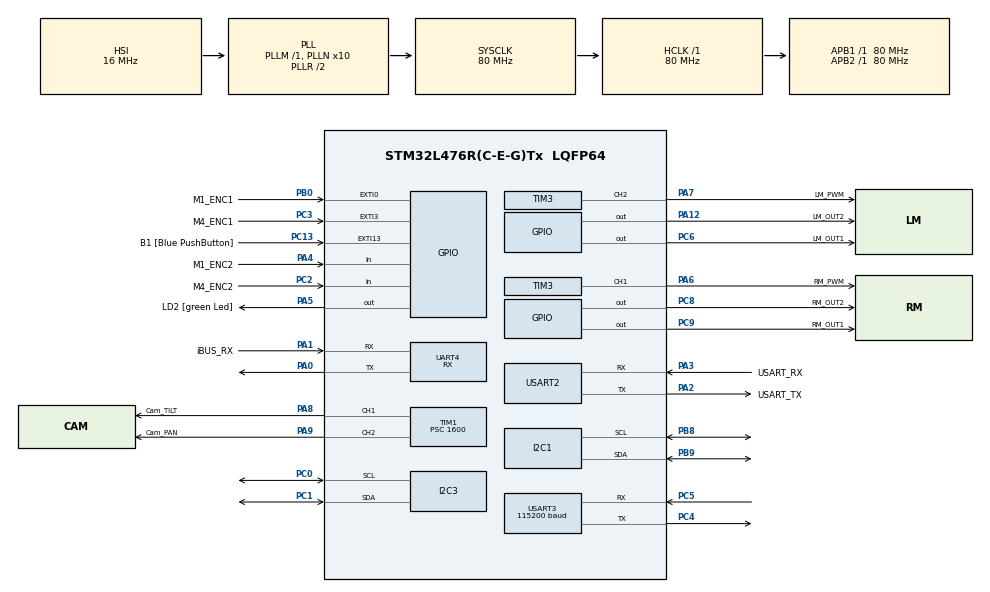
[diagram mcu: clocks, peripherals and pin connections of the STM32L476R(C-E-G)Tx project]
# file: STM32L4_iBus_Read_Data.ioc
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I2C1.Timing=0x10909CEC
I2C3.Timing=0x10909CEC
Mcu.Family=STM32L4
Mcu.Name=STM32L476R(C-E-G)Tx
Mcu.Package=LQFP64
NVIC.EXTI0_IRQn=true\:0\:0\:false\:false\:true\:true\:true
NVIC.EXTI3_IRQn=true\:0\:0\:false\:false\:true\:true\:true
NVIC.PriorityGroup=NVIC_PRIORITYGROUP_4
NVIC.UART4_IRQn=true\:0\:0\:false\:false\:true\:true\:true
PA0.Mode=Asynchronous
PA0.Signal=UART4_TX
PA1.GPIO_Label=iBUS_RX
PA1.Mode=Asynchronous
PA1.Signal=UART4_RX
PA12.GPIO_Label=LM_OUT2
PA12.Signal=GPIO_Output
PA13\ (JTMS-SWDIO).GPIO_Label=TMS
PA13\ (JTMS-SWDIO).Mode=Serial_Wire
PA13\ (JTMS-SWDIO).Signal=SYS_JTMS-SWDIO
PA14\ (JTCK-SWCLK).GPIO_Label=TCK
PA14\ (JTCK-SWCLK).Mode=Serial_Wire
PA14\ (JTCK-SWCLK).Signal=SYS_JTCK-SWCLK
PA2.GPIO_Label=USART_TX
PA2.GPIO_Mode=GPIO_MODE_AF_PP
PA2.GPIO_PuPd=GPIO_NOPULL
PA2.GPIO_Speed=GPIO_SPEED_FREQ_VERY_HIGH
PA2.Mode=Asynchronous
PA2.Signal=USART2_TX
PA3.GPIO_Label=USART_RX
PA3.GPIO_Mode=GPIO_MODE_AF_PP
PA3.GPIO_PuPd=GPIO_NOPULL
PA3.GPIO_Speed=GPIO_SPEED_FREQ_VERY_HIGH
PA3.Mode=Asynchronous
PA3.Signal=USART2_RX
PA4.GPIO_Label=M1_ENC2
PA4.Signal=GPIO_Input
PA5.GPIO_Label=LD2 [green Led]
PA5.GPIO_ModeDefaultOutputPP=GPIO_MODE_OUTPUT_PP
PA5.GPIO_PuPd=GPIO_NOPULL
PA5.GPIO_Speed=GPIO_SPEED_FREQ_LOW
PA5.Signal=GPIO_Output
PA6.GPIO_Label=RM_PWM
PA6.Signal=S_TIM3_CH1
PA7.GPIO_Label=LM_PWM
PA7.Signal=S_TIM3_CH2
PA8.GPIO_Label=Cam_TILT
PA8.Signal=S_TIM1_CH1
PA9.GPIO_Label=Cam_PAN
PA9.Signal=S_TIM1_CH2
PB0.GPIO_Label=M1_ENC1
PB0.GPIO_ModeDefaultEXTI=GPIO_MODE_IT_RISING
PB0.Signal=GPXTI0
PB3\ (JTDO-TRACESWO).GPIO_Label=SWO
PB3\ (JTDO-TRACESWO).Signal=SYS_JTDO-SWO
PB8.Mode=I2C
PB8.Signal=I2C1_SCL
PB9.Mode=I2C
PB9.Signal=I2C1_SDA
PC0.Mode=I2C
PC0.Signal=I2C3_SCL
PC1.Mode=I2C
PC1.Signal=I2C3_SDA
PC13.GPIO_Label=B1 [Blue PushButton]
PC13.GPIO_ModeDefaultEXTI=GPIO_MODE_IT_FALLING
PC13.GPIO_PuPd=GPIO_NOPULL
PC13.Signal=GPXTI13
PC14-OSC32_IN\ (PC14).Mode=LSE-External-Oscillator
PC14-OSC32_IN\ (PC14).Signal=RCC_OSC32_IN
PC15-OSC32_OUT\ (PC15).Mode=LSE-External-Oscillator
PC15-OSC32_OUT\ (PC15).Signal=RCC_OSC32_OUT
PC2.GPIO_Label=M4_ENC2
PC2.Signal=GPIO_Input
PC3.GPIO_Label=M4_ENC1
PC3.GPIO_ModeDefaultEXTI=GPIO_MODE_IT_RISING
PC3.Signal=GPXTI3
PC4.Mode=Asynchronous
PC4.Signal=USART3_TX
PC5.Mode=Asynchronous
PC5.Signal=USART3_RX
PC6.GPIO_Label=LM_OUT1
PC6.Signal=GPIO_Output
PC8.GPIO_Label=RM_OUT2
PC8.Signal=GPIO_Output
PC9.GPIO_Label=RM_OUT1
PC9.Signal=GPIO_Output
PH0-OSC_IN\ (PH0).Signal=RCC_OSC_IN
PH1-OSC_OUT\ (PH1).Signal=RCC_OSC_OUT
ProjectManager.HeapSize=0x200
ProjectManager.StackSize=0x400
ProjectManager.TargetToolchain=STM32CubeIDE
RCC.ADCFreq_Value=64000000
RCC.AHBFreq_Value=80000000
RCC.APB1Freq_Value=80000000
RCC.APB1TimFreq_Value=80000000
RCC.APB2Freq_Value=80000000
RCC.APB2TimFreq_Value=80000000
RCC.CortexFreq_Value=80000000
RCC.HCLKFreq_Value=80000000
RCC.HSE_VALUE=8000000
RCC.HSI_VALUE=16000000
RCC.MSI_VALUE=4000000
RCC.PLLN=10
RCC.PLLSourceVirtual=RCC_PLLSOURCE_HSI
RCC.PREFETCH_ENABLE=1
RCC.SYSCLKFreq_VALUE=80000000
RCC.SYSCLKSource=RCC_SYSCLKSOURCE_PLLCLK
RCC.USBFreq_Value=64000000
RCC.VCOOutputFreq_Value=160000000
SH.S_TIM1_CH1.0=TIM1_CH1,PWM Generation1 CH1
SH.S_TIM1_CH2.0=TIM1_CH2,PWM Generation2 CH2
SH.S_TIM3_CH1.0=TIM3_CH1,PWM Generation1 CH1
SH.S_TIM3_CH2.0=TIM3_CH2,PWM Generation2 CH2
TIM1.Channel-PWM\ Generation1\ CH1=TIM_CHANNEL_1
TIM1.Channel-PWM\ Generation2\ CH2=TIM_CHANNEL_2
TIM1.Period=1000
TIM1.Prescaler=1600
TIM3.Channel-PWM\ Generation1\ CH1=TIM_CHANNEL_1
TIM3.Channel-PWM\ Generation2\ CH2=TIM_CHANNEL_2
TIM3.Period=4999
TIM3.Prescaler=1599
UART4.Mode=MODE_RX
UART4.OverrunDisableParam=UART_ADVFEATURE_OVERRUN_DISABLE
USART2.VirtualMode-Asynchronous=VM_ASYNC
USART3.BaudRate=115200
USART3.VirtualMode-Asynchronous=VM_ASYNC
board=NUCLEO-L476RG

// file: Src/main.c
/* USER CODE BEGIN Header */
/**
  ******************************************************************************
  * @file           : main.c
  * @brief          : Main program body
  ******************************************************************************
  * @attention
  *
  * <h2><center>&copy; Copyright (c) 2020 STMicroelectronics.
  * All rights reserved.</center></h2>
  *
  * This software component is licensed by ST under BSD 3-Clause license,
  * the "License"; You may not use this file except in compliance with the
  * License. You may obtain a copy of the License at:
  *                        opensource.org/licenses/BSD-3-Clause
  *
  ******************************************************************************
  */
/* USER CODE END Header */

#include "main.h"

/* USER CODE BEGIN Includes */
#include <stdlib.h>
#include <stdio.h>
#include <string.h>

#include "MPU6050.h"
#include "fonts.h"
#include "oled.h"
#include "gfx.h"

#include "iBus.h"
//#include "P2927_MC.h"
#include "servos.h"
#include "telemetry.h"
#include "rc_controller.h"
/* USER CODE END Includes */

/* USER CODE BEGIN PD */
//#define IBUS_DEBUG
// Gear ration 1:130 ;  pulses per rotation: 11
#define ENCODER_PULSES_PER_ROTATION		130*11
#define MM_PER_ROTATION					119.38
/* USER CODE END PD */

I2C_HandleTypeDef hi2c1;
I2C_HandleTypeDef hi2c3;

TIM_HandleTypeDef htim1;
TIM_HandleTypeDef htim3;

UART_HandleTypeDef huart4;
UART_HandleTypeDef huart2;
UART_HandleTypeDef huart3;

/* USER CODE BEGIN PV */
uint32_t m4_enc1_cnt, m1_enc1_cnt;
uint32_t m1_enc1_cnt_last, m4_enc1_cnt_last;
int8_t m1_dir, m4_dir;

uint8_t f_send_telemetry;

/* USER CODE END PV */

void SystemClock_Config(void);
static void MX_GPIO_Init(void);
static void MX_USART2_UART_Init(void);
static void MX_UART4_Init(void);
static void MX_I2C1_Init(void);
static void MX_TIM1_Init(void);
static void MX_I2C3_Init(void);
static void MX_USART3_UART_Init(void);
static void MX_TIM3_Init(void);
/* USER CODE BEGIN PFP */
void debugPrint(UART_HandleTypeDef *huart, char _out[]);
/* USER CODE END PFP */

int main(void)
{

  /* MCU Configuration--------------------------------------------------------*/

  /* Reset of all peripherals, Initializes the Flash interface and the Systick. */
  HAL_Init();

  /* Configure the system clock */
  SystemClock_Config();

  /* Initialize all configured peripherals */
  MX_GPIO_Init();
  MX_USART2_UART_Init();
  MX_UART4_Init();
  MX_I2C1_Init();
  MX_TIM1_Init();
  MX_I2C3_Init();
  MX_USART3_UART_Init();
  MX_TIM3_Init();
  /* USER CODE BEGIN 2 */

  SERVOS_Init(&htim1);
  MPU6050_Init(&hi2c3);
  oled_init(&hi2c3);
  telemetry_init(&huart3, TELEMETRY_SEND_SPEED | TELEMETRY_SEND_ACC | TELEMETRY_SEND_GYRO);

  rc_controller_init(&htim3);

//	if(HAL_OK != HAL_I2C_IsDeviceReady(&hi2c1, (0x60 << 1), 3, 100)){
//		HAL_GPIO_WritePin(GPIOA, GPIO_PIN_5, GPIO_PIN_SET);
//		debugPrint(&huart2, "I2C Device not ready. Aborting\r\n");
//		return 1;
//	}
//
//	if(P2927_MC_OK != P2927_MC_Init(&hi2c1)){
//		HAL_GPIO_WritePin(GPIOA, GPIO_PIN_5, GPIO_PIN_SET);
//		debugPrint(&huart2, "Motor controller initialization failed. Aborting\r\n");
//		return 1;
//	}

//	P2927_MC_setMotor(P2927_MC_MOTOR4, P2927_MC_FORWARD, 3000);

  iBusReadInit(&huart4); // starts huart4 reading
  /* USER CODE END 2 */

  /* Infinite loop */
  /* USER CODE BEGIN WHILE */
//  HAL_TIM_Base_Start(&htim3);
//  HAL_TIM_Base_Start_IT(&htim3);
  char line[80];
  while (1)
  {
	  if(iBus_read_finished_f){
		  iBus_read_finished_f = 0;
		  iBusComputeValues();

		  if(iBus_data[9] == 2000){
			  m4_enc1_cnt = 0;
			  m1_enc1_cnt = 0;
		  }
		  if(iBus_data[4] > 1500)
			  HAL_GPIO_WritePin(GPIOA, GPIO_PIN_5, GPIO_PIN_SET);
		  else
			  HAL_GPIO_WritePin(GPIOA, GPIO_PIN_5, GPIO_PIN_RESET);

		  rc_controller_setMotors_RC_values(iBus_data[0], iBus_data[1]);
//		  P2927_MC_setMotors_RC_values(iBus_data[0], iBus_data[1]);

		  SERVOS_update_pantilt(iBus_data[3], iBus_data[2]);

#ifdef IBUS_DEBUG
		  char line[80];
		  snprintf(line, 80, "0x%02X 0x%02X 0x%02X 0x%02X 0x%02X "
				  "0x%02X 0x%02X 0x%02X 0x%02X 0x%02X\r\n", iBus_data[0], iBus_data[1], iBus_data[2], iBus_data[3], iBus_data[4],
				  iBus_data[5], iBus_data[6], iBus_data[0], iBus_data[8], iBus_data[9]);
		  snprintf(line, 80, "%4d %4d %4d %4d %4d %4d %4d %4d %4d %4d \r\n", iBus_data[0], iBus_data[1], iBus_data[2], iBus_data[3], iBus_data[4],
				  iBus_data[5], iBus_data[6], iBus_data[0], iBus_data[8], iBus_data[9]);

//		  snprintf(line, 80, "M1: %s(%4ld) M4: %s(%4ld)  \r", (m1_dir == 0) ? "STP" : ((m1_dir == 1) ? "FWD" : "BWD"), m1_enc1_cnt, (m4_dir == 0) ? "STP" : ((m4_dir == 1) ? "FWD" : "BWD"), m4_enc1_cnt);
		  debugPrint(&huart2, line);
#endif

		  // Start new read
		  iBusReadInit(&huart4);
	  }

	  if(1){
		  MPU5060_Read_Accel();
		  MPU6050_Read_Gyro();
		  memset(line, 0, 80);
		  snprintf(line, 80, "ACC: %.2f  %.2f  %.2f     ",Ax, Ay, Az);
		  graphics_text(0,12,0, line);
		  memset(line, 0, 80);
		  snprintf(line, 80, "GYR: %.2f  %.2f  %.2f     ",Gx, Gy, Gz);
		  graphics_text(0,18,0, line);
		  oled_update();
	  }
	  if(f_send_telemetry){
		  f_send_telemetry = 0;
		  telemetry_send_data();
	  }
    /* USER CODE END WHILE */

  }
}

void SystemClock_Config(void)
{
  RCC_OscInitTypeDef RCC_OscInitStruct = {0};
  RCC_ClkInitTypeDef RCC_ClkInitStruct = {0};
  RCC_PeriphCLKInitTypeDef PeriphClkInit = {0};

  /** Initializes the CPU, AHB and APB busses clocks
  */
  RCC_OscInitStruct.OscillatorType = RCC_OSCILLATORTYPE_HSI;
  RCC_OscInitStruct.HSIState = RCC_HSI_ON;
  RCC_OscInitStruct.HSICalibrationValue = RCC_HSICALIBRATION_DEFAULT;
  RCC_OscInitStruct.PLL.PLLState = RCC_PLL_ON;
  RCC_OscInitStruct.PLL.PLLSource = RCC_PLLSOURCE_HSI;
  RCC_OscInitStruct.PLL.PLLM = 1;
  RCC_OscInitStruct.PLL.PLLN = 10;
  RCC_OscInitStruct.PLL.PLLP = RCC_PLLP_DIV7;
  RCC_OscInitStruct.PLL.PLLQ = RCC_PLLQ_DIV2;
  RCC_OscInitStruct.PLL.PLLR = RCC_PLLR_DIV2;
  if (HAL_RCC_OscConfig(&RCC_OscInitStruct) != HAL_OK)
  {
    Error_Handler();
  }
  /** Initializes the CPU, AHB and APB busses clocks
  */
  RCC_ClkInitStruct.ClockType = RCC_CLOCKTYPE_HCLK|RCC_CLOCKTYPE_SYSCLK
                              |RCC_CLOCKTYPE_PCLK1|RCC_CLOCKTYPE_PCLK2;
  RCC_ClkInitStruct.SYSCLKSource = RCC_SYSCLKSOURCE_PLLCLK;
  RCC_ClkInitStruct.AHBCLKDivider = RCC_SYSCLK_DIV1;
  RCC_ClkInitStruct.APB1CLKDivider = RCC_HCLK_DIV1;
  RCC_ClkInitStruct.APB2CLKDivider = RCC_HCLK_DIV1;

  if (HAL_RCC_ClockConfig(&RCC_ClkInitStruct, FLASH_LATENCY_4) != HAL_OK)
  {
    Error_Handler();
  }
  PeriphClkInit.PeriphClockSelection = RCC_PERIPHCLK_USART2|RCC_PERIPHCLK_USART3
                              |RCC_PERIPHCLK_UART4|RCC_PERIPHCLK_I2C1
                              |RCC_PERIPHCLK_I2C3;
  PeriphClkInit.Usart2ClockSelection = RCC_USART2CLKSOURCE_PCLK1;
  PeriphClkInit.Usart3ClockSelection = RCC_USART3CLKSOURCE_PCLK1;
  PeriphClkInit.Uart4ClockSelection = RCC_UART4CLKSOURCE_PCLK1;
  PeriphClkInit.I2c1ClockSelection = RCC_I2C1CLKSOURCE_PCLK1;
  PeriphClkInit.I2c3ClockSelection = RCC_I2C3CLKSOURCE_PCLK1;
  if (HAL_RCCEx_PeriphCLKConfig(&PeriphClkInit) != HAL_OK)
  {
    Error_Handler();
  }
  /** Configure the main internal regulator output voltage
  */
  if (HAL_PWREx_ControlVoltageScaling(PWR_REGULATOR_VOLTAGE_SCALE1) != HAL_OK)
  {
    Error_Handler();
  }
}

static void MX_I2C1_Init(void)
{

  hi2c1.Instance = I2C1;
  hi2c1.Init.Timing = 0x10909CEC;
  hi2c1.Init.OwnAddress1 = 0;
  hi2c1.Init.AddressingMode = I2C_ADDRESSINGMODE_7BIT;
  hi2c1.Init.DualAddressMode = I2C_DUALADDRESS_DISABLE;
  hi2c1.Init.OwnAddress2 = 0;
  hi2c1.Init.OwnAddress2Masks = I2C_OA2_NOMASK;
  hi2c1.Init.GeneralCallMode = I2C_GENERALCALL_DISABLE;
  hi2c1.Init.NoStretchMode = I2C_NOSTRETCH_DISABLE;
  if (HAL_I2C_Init(&hi2c1) != HAL_OK)
  {
    Error_Handler();
  }
  /** Configure Analogue filter
  */
  if (HAL_I2CEx_ConfigAnalogFilter(&hi2c1, I2C_ANALOGFILTER_ENABLE) != HAL_OK)
  {
    Error_Handler();
  }
  /** Configure Digital filter
  */
  if (HAL_I2CEx_ConfigDigitalFilter(&hi2c1, 0) != HAL_OK)
  {
    Error_Handler();
  }

}

static void MX_I2C3_Init(void)
{

  hi2c3.Instance = I2C3;
  hi2c3.Init.Timing = 0x10909CEC;
  hi2c3.Init.OwnAddress1 = 0;
  hi2c3.Init.AddressingMode = I2C_ADDRESSINGMODE_7BIT;
  hi2c3.Init.DualAddressMode = I2C_DUALADDRESS_DISABLE;
  hi2c3.Init.OwnAddress2 = 0;
  hi2c3.Init.OwnAddress2Masks = I2C_OA2_NOMASK;
  hi2c3.Init.GeneralCallMode = I2C_GENERALCALL_DISABLE;
  hi2c3.Init.NoStretchMode = I2C_NOSTRETCH_DISABLE;
  if (HAL_I2C_Init(&hi2c3) != HAL_OK)
  {
    Error_Handler();
  }
  /** Configure Analogue filter
  */
  if (HAL_I2CEx_ConfigAnalogFilter(&hi2c3, I2C_ANALOGFILTER_ENABLE) != HAL_OK)
  {
    Error_Handler();
  }
  /** Configure Digital filter
  */
  if (HAL_I2CEx_ConfigDigitalFilter(&hi2c3, 0) != HAL_OK)
  {
    Error_Handler();
  }

}

static void MX_TIM1_Init(void)
{

  TIM_MasterConfigTypeDef sMasterConfig = {0};
  TIM_OC_InitTypeDef sConfigOC = {0};
  TIM_BreakDeadTimeConfigTypeDef sBreakDeadTimeConfig = {0};

  htim1.Instance = TIM1;
  htim1.Init.Prescaler = 1600;
  htim1.Init.CounterMode = TIM_COUNTERMODE_UP;
  htim1.Init.Period = 1000;
  htim1.Init.ClockDivision = TIM_CLOCKDIVISION_DIV1;
  htim1.Init.RepetitionCounter = 0;
  htim1.Init.AutoReloadPreload = TIM_AUTORELOAD_PRELOAD_DISABLE;
  if (HAL_TIM_PWM_Init(&htim1) != HAL_OK)
  {
    Error_Handler();
  }
  sMasterConfig.MasterOutputTrigger = TIM_TRGO_RESET;
  sMasterConfig.MasterOutputTrigger2 = TIM_TRGO2_RESET;
  sMasterConfig.MasterSlaveMode = TIM_MASTERSLAVEMODE_DISABLE;
  if (HAL_TIMEx_MasterConfigSynchronization(&htim1, &sMasterConfig) != HAL_OK)
  {
    Error_Handler();
  }
  sConfigOC.OCMode = TIM_OCMODE_PWM1;
  sConfigOC.Pulse = 0;
  sConfigOC.OCPolarity = TIM_OCPOLARITY_HIGH;
  sConfigOC.OCNPolarity = TIM_OCNPOLARITY_HIGH;
  sConfigOC.OCFastMode = TIM_OCFAST_DISABLE;
  sConfigOC.OCIdleState = TIM_OCIDLESTATE_RESET;
  sConfigOC.OCNIdleState = TIM_OCNIDLESTATE_RESET;
  if (HAL_TIM_PWM_ConfigChannel(&htim1, &sConfigOC, TIM_CHANNEL_1) != HAL_OK)
  {
    Error_Handler();
  }
  if (HAL_TIM_PWM_ConfigChannel(&htim1, &sConfigOC, TIM_CHANNEL_2) != HAL_OK)
  {
    Error_Handler();
  }
  sBreakDeadTimeConfig.OffStateRunMode = TIM_OSSR_DISABLE;
  sBreakDeadTimeConfig.OffStateIDLEMode = TIM_OSSI_DISABLE;
  sBreakDeadTimeConfig.LockLevel = TIM_LOCKLEVEL_OFF;
  sBreakDeadTimeConfig.DeadTime = 0;
  sBreakDeadTimeConfig.BreakState = TIM_BREAK_DISABLE;
  sBreakDeadTimeConfig.BreakPolarity = TIM_BREAKPOLARITY_HIGH;
  sBreakDeadTimeConfig.BreakFilter = 0;
  sBreakDeadTimeConfig.Break2State = TIM_BREAK2_DISABLE;
  sBreakDeadTimeConfig.Break2Polarity = TIM_BREAK2POLARITY_HIGH;
  sBreakDeadTimeConfig.Break2Filter = 0;
  sBreakDeadTimeConfig.AutomaticOutput = TIM_AUTOMATICOUTPUT_DISABLE;
  if (HAL_TIMEx_ConfigBreakDeadTime(&htim1, &sBreakDeadTimeConfig) != HAL_OK)
  {
    Error_Handler();
  }
  HAL_TIM_MspPostInit(&htim1);

}

static void MX_TIM3_Init(void)
{

  TIM_MasterConfigTypeDef sMasterConfig = {0};
  TIM_OC_InitTypeDef sConfigOC = {0};

  htim3.Instance = TIM3;
  htim3.Init.Prescaler = 1599;
  htim3.Init.CounterMode = TIM_COUNTERMODE_UP;
  htim3.Init.Period = 4999;
  htim3.Init.ClockDivision = TIM_CLOCKDIVISION_DIV1;
  htim3.Init.AutoReloadPreload = TIM_AUTORELOAD_PRELOAD_DISABLE;
  if (HAL_TIM_PWM_Init(&htim3) != HAL_OK)
  {
    Error_Handler();
  }
  sMasterConfig.MasterOutputTrigger = TIM_TRGO_RESET;
  sMasterConfig.MasterSlaveMode = TIM_MASTERSLAVEMODE_DISABLE;
  if (HAL_TIMEx_MasterConfigSynchronization(&htim3, &sMasterConfig) != HAL_OK)
  {
    Error_Handler();
  }
  sConfigOC.OCMode = TIM_OCMODE_PWM1;
  sConfigOC.Pulse = 0;
  sConfigOC.OCPolarity = TIM_OCPOLARITY_HIGH;
  sConfigOC.OCFastMode = TIM_OCFAST_DISABLE;
  if (HAL_TIM_PWM_ConfigChannel(&htim3, &sConfigOC, TIM_CHANNEL_1) != HAL_OK)
  {
    Error_Handler();
  }
  if (HAL_TIM_PWM_ConfigChannel(&htim3, &sConfigOC, TIM_CHANNEL_2) != HAL_OK)
  {
    Error_Handler();
  }
  HAL_TIM_MspPostInit(&htim3);

}

static void MX_UART4_Init(void)
{

  huart4.Instance = UART4;
  huart4.Init.BaudRate = 115200;
  huart4.Init.WordLength = UART_WORDLENGTH_8B;
  huart4.Init.StopBits = UART_STOPBITS_1;
  huart4.Init.Parity = UART_PARITY_NONE;
  huart4.Init.Mode = UART_MODE_RX;
  huart4.Init.HwFlowCtl = UART_HWCONTROL_NONE;
  huart4.Init.OverSampling = UART_OVERSAMPLING_16;
  huart4.Init.OneBitSampling = UART_ONE_BIT_SAMPLE_DISABLE;
  huart4.AdvancedInit.AdvFeatureInit = UART_ADVFEATURE_RXOVERRUNDISABLE_INIT;
  huart4.AdvancedInit.OverrunDisable = UART_ADVFEATURE_OVERRUN_DISABLE;
  if (HAL_UART_Init(&huart4) != HAL_OK)
  {
    Error_Handler();
  }

}

static void MX_USART2_UART_Init(void)
{

  huart2.Instance = USART2;
  huart2.Init.BaudRate = 115200;
  huart2.Init.WordLength = UART_WORDLENGTH_8B;
  huart2.Init.StopBits = UART_STOPBITS_1;
  huart2.Init.Parity = UART_PARITY_NONE;
  huart2.Init.Mode = UART_MODE_TX_RX;
  huart2.Init.HwFlowCtl = UART_HWCONTROL_NONE;
  huart2.Init.OverSampling = UART_OVERSAMPLING_16;
  huart2.Init.OneBitSampling = UART_ONE_BIT_SAMPLE_DISABLE;
  huart2.AdvancedInit.AdvFeatureInit = UART_ADVFEATURE_NO_INIT;
  if (HAL_UART_Init(&huart2) != HAL_OK)
  {
    Error_Handler();
  }

}

static void MX_USART3_UART_Init(void)
{

  huart3.Instance = USART3;
  huart3.Init.BaudRate = 115200;
  huart3.Init.WordLength = UART_WORDLENGTH_8B;
  huart3.Init.StopBits = UART_STOPBITS_1;
  huart3.Init.Parity = UART_PARITY_NONE;
  huart3.Init.Mode = UART_MODE_TX_RX;
  huart3.Init.HwFlowCtl = UART_HWCONTROL_NONE;
  huart3.Init.OverSampling = UART_OVERSAMPLING_16;
  huart3.Init.OneBitSampling = UART_ONE_BIT_SAMPLE_DISABLE;
  huart3.AdvancedInit.AdvFeatureInit = UART_ADVFEATURE_NO_INIT;
  if (HAL_UART_Init(&huart3) != HAL_OK)
  {
    Error_Handler();
  }

}

static void MX_GPIO_Init(void)
{
  GPIO_InitTypeDef GPIO_InitStruct = {0};

  /* GPIO Ports Clock Enable */
  __HAL_RCC_GPIOC_CLK_ENABLE();
  __HAL_RCC_GPIOH_CLK_ENABLE();
  __HAL_RCC_GPIOA_CLK_ENABLE();
  __HAL_RCC_GPIOB_CLK_ENABLE();

  /*Configure GPIO pin Output Level */
  HAL_GPIO_WritePin(GPIOA, LD2_Pin|LM_OUT2_Pin, GPIO_PIN_RESET);

  /*Configure GPIO pin Output Level */
  HAL_GPIO_WritePin(GPIOC, LM_OUT1_Pin|RM_OUT2_Pin|RM_OUT1_Pin, GPIO_PIN_RESET);

  /*Configure GPIO pin : B1_Pin */
  GPIO_InitStruct.Pin = B1_Pin;
  GPIO_InitStruct.Mode = GPIO_MODE_IT_FALLING;
  GPIO_InitStruct.Pull = GPIO_NOPULL;
  HAL_GPIO_Init(B1_GPIO_Port, &GPIO_InitStruct);

  /*Configure GPIO pin : M4_ENC2_Pin */
  GPIO_InitStruct.Pin = M4_ENC2_Pin;
  GPIO_InitStruct.Mode = GPIO_MODE_INPUT;
  GPIO_InitStruct.Pull = GPIO_NOPULL;
  HAL_GPIO_Init(M4_ENC2_GPIO_Port, &GPIO_InitStruct);

  /*Configure GPIO pin : M4_ENC1_Pin */
  GPIO_InitStruct.Pin = M4_ENC1_Pin;
  GPIO_InitStruct.Mode = GPIO_MODE_IT_RISING;
  GPIO_InitStruct.Pull = GPIO_NOPULL;
  HAL_GPIO_Init(M4_ENC1_GPIO_Port, &GPIO_InitStruct);

  /*Configure GPIO pin : M1_ENC2_Pin */
  GPIO_InitStruct.Pin = M1_ENC2_Pin;
  GPIO_InitStruct.Mode = GPIO_MODE_INPUT;
  GPIO_InitStruct.Pull = GPIO_NOPULL;
  HAL_GPIO_Init(M1_ENC2_GPIO_Port, &GPIO_InitStruct);

  /*Configure GPIO pins : LD2_Pin LM_OUT2_Pin */
  GPIO_InitStruct.Pin = LD2_Pin|LM_OUT2_Pin;
  GPIO_InitStruct.Mode = GPIO_MODE_OUTPUT_PP;
  GPIO_InitStruct.Pull = GPIO_NOPULL;
  GPIO_InitStruct.Speed = GPIO_SPEED_FREQ_LOW;
  HAL_GPIO_Init(GPIOA, &GPIO_InitStruct);

  /*Configure GPIO pin : M1_ENC1_Pin */
  GPIO_InitStruct.Pin = M1_ENC1_Pin;
  GPIO_InitStruct.Mode = GPIO_MODE_IT_RISING;
  GPIO_InitStruct.Pull = GPIO_NOPULL;
  HAL_GPIO_Init(M1_ENC1_GPIO_Port, &GPIO_InitStruct);

  /*Configure GPIO pins : LM_OUT1_Pin RM_OUT2_Pin RM_OUT1_Pin */
  GPIO_InitStruct.Pin = LM_OUT1_Pin|RM_OUT2_Pin|RM_OUT1_Pin;
  GPIO_InitStruct.Mode = GPIO_MODE_OUTPUT_PP;
  GPIO_InitStruct.Pull = GPIO_NOPULL;
  GPIO_InitStruct.Speed = GPIO_SPEED_FREQ_LOW;
  HAL_GPIO_Init(GPIOC, &GPIO_InitStruct);

  /* EXTI interrupt init*/
  HAL_NVIC_SetPriority(EXTI0_IRQn, 0, 0);
  HAL_NVIC_EnableIRQ(EXTI0_IRQn);

  HAL_NVIC_SetPriority(EXTI3_IRQn, 0, 0);
  HAL_NVIC_EnableIRQ(EXTI3_IRQn);

}

/* USER CODE BEGIN 4 */
void debugPrint(UART_HandleTypeDef *huart, char _out[]){
	HAL_UART_Transmit(huart, (uint8_t *) _out, strlen(_out), 10);
}

void HAL_GPIO_EXTI_Callback(uint16_t GPIO_Pin)
{
	if(GPIO_Pin == M4_ENC1_Pin){
		m4_enc1_cnt++;
		if(HAL_GPIO_ReadPin(GPIOC, M4_ENC2_Pin)){
			m4_dir = 1;
		}else{
			m4_dir = -1;
		}
	}else if(GPIO_Pin == M1_ENC1_Pin){
		m1_enc1_cnt++;
		if(HAL_GPIO_ReadPin(GPIOA, M1_ENC2_Pin)){
			m1_dir = 1;
		}else{
			m1_dir = -1;
		}
	}
}

void HAL_TIM_PeriodElapsedCallback(TIM_HandleTypeDef *htim)
{
	static uint8_t cnt = 0;
	float tmp;
//	uint32_t ticks;

//	ticks = HAL_GetTick();

	if(m1_enc1_cnt_last == m1_enc1_cnt){
		m1_dir = 0;
	}else{
		m1_enc1_cnt_last = m1_enc1_cnt;
	}

	if(m4_enc1_cnt_last == m4_enc1_cnt){
		m4_dir = 0;
	}else{
		m4_enc1_cnt_last = m4_enc1_cnt;
	}

	cnt++;
	if(cnt >= 8){
		// Every second
		cnt = 0;
		// Enable telemetry sending
		f_send_telemetry = 1;

		// Compute speed
		if(m1_dir == m4_dir){
			tmp = (m1_enc1_cnt + m4_enc1_cnt)/2.0;
		}else{
			tmp = abs(m1_enc1_cnt - m4_enc1_cnt)/2.0;
		}

//		speed = ((m1_enc1_cnt + m4_enc1_cnt)*60)/(2.0 * ENCODER_PULSES_PER_ROTATION);  // I use both motors' pulses average
		speed = (tmp * MM_PER_ROTATION)/ ENCODER_PULSES_PER_ROTATION; // mm/second

		m1_enc1_cnt = 0;
		m4_enc1_cnt = 0;
		m1_enc1_cnt_last = 0;
		m4_enc1_cnt_last = 0;

	}

}

/* USER CODE END 4 */

void Error_Handler(void)
{
}

/************************ (C) COPYRIGHT STMicroelectronics *****END OF FILE****/
